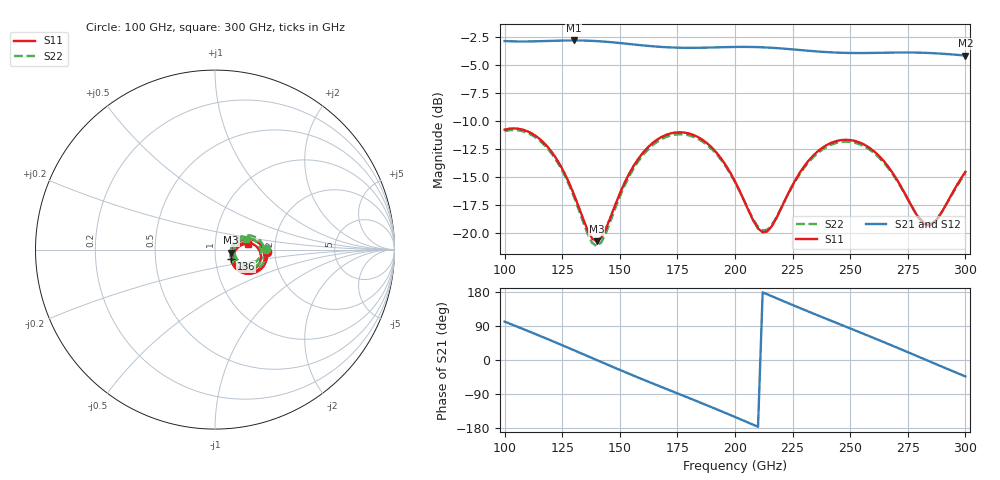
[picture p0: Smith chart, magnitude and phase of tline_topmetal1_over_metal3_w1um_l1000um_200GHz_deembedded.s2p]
! Created with skrf 2.0.1 (http://scikit-rf.org).
# GHz S DB R 50.0
!freq dBS11 angS11 dBS21 angS21 dBS12 angS12 dBS22 angS22
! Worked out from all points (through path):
!   101 points, 100 GHz to 300 GHz, reference 50 ohm
!   highest |S21| = -2.80 dB at 130 GHz (marker M1); lowest = -4.1 dB at 300 GHz (marker M2)
!   group delay of S21, straight-line fit = 7 ps
!   lowest |S11| = -20.8 dB at 140 GHz (marker M3), VSWR 1.20, Z = 59.9 - j2 ohm
!   |S11| at or under -10 dB: start of sweep to end of sweep
!   |S22| runs from -21.2 to -10.8 dB; largest |S21 - S12| = 7.4e-14
!   S11 on the Smith chart (normalised r, x): 100 GHz: 1.81, -0.06; 136 GHz: 1.19, -0.12; 300 GHz: 1.45, +0.09
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100  -10.78 -3.1  -2.85 101.3  -2.85 101.3  -10.91 0.6
114  -11.41 -26.6  -2.87 66.9  -2.87 66.9  -11.55 -22.5
122  -13.22 -37.9  -2.83 46.7  -2.83 46.7  -13.38 -33.7
130  -16.52 -42.0  -2.80 26.1  -2.80 26.1  -16.72 -37.7
134  -18.70 -36.4  -2.81 15.6  -2.81 15.6  -18.98 -32.2
136  -19.74 -30.2  -2.82 10.3  -2.82 10.3  -20.07 -25.7
140  -20.76 -10.4  -2.86 -0.1  -2.86 -0.1  -21.19 -5.2
152  -15.56 19.4  -3.07 -31.2  -3.07 -31.2  -15.82 26.3
168  -11.44 1.4  -3.38 -71.0  -3.38 -71.0  -11.63 8.8
176  -11.01 -11.3  -3.45 -90.5  -3.45 -90.5  -11.18 -3.6
184  -11.45 -24.0  -3.45 -110.1  -3.45 -110.1  -11.61 -15.8
200  -15.40 -41.1  -3.38 -150.4  -3.38 -150.4  -15.47 -31.9
210  -19.61 -24.8  -3.40 -176.2  -3.40 -176.2  -19.46 -15.8
214  -19.88 -8.0  -3.43 173.4  -3.43 173.4  -19.72 0.2
224  -16.11 13.0  -3.58 147.7  -3.58 147.7  -16.18 20.8
234  -13.08 6.6  -3.76 122.6  -3.76 122.6  -13.23 15.2
250  -11.70 -15.7  -3.92 83.3  -3.92 83.3  -11.87 -6.1
258  -12.35 -26.9  -3.92 63.6  -3.92 63.6  -12.50 -16.9
268  -14.51 -37.0  -3.89 38.5  -3.89 38.5  -14.62 -26.4
276  -17.36 -35.0  -3.88 18.1  -3.88 18.1  -17.37 -24.0
284  -19.34 -13.4  -3.92 -2.5  -3.92 -2.5  -19.23 -3.4
300  -14.55 9.6  -4.15 -43.3  -4.15 -43.3  -14.69 19.1
